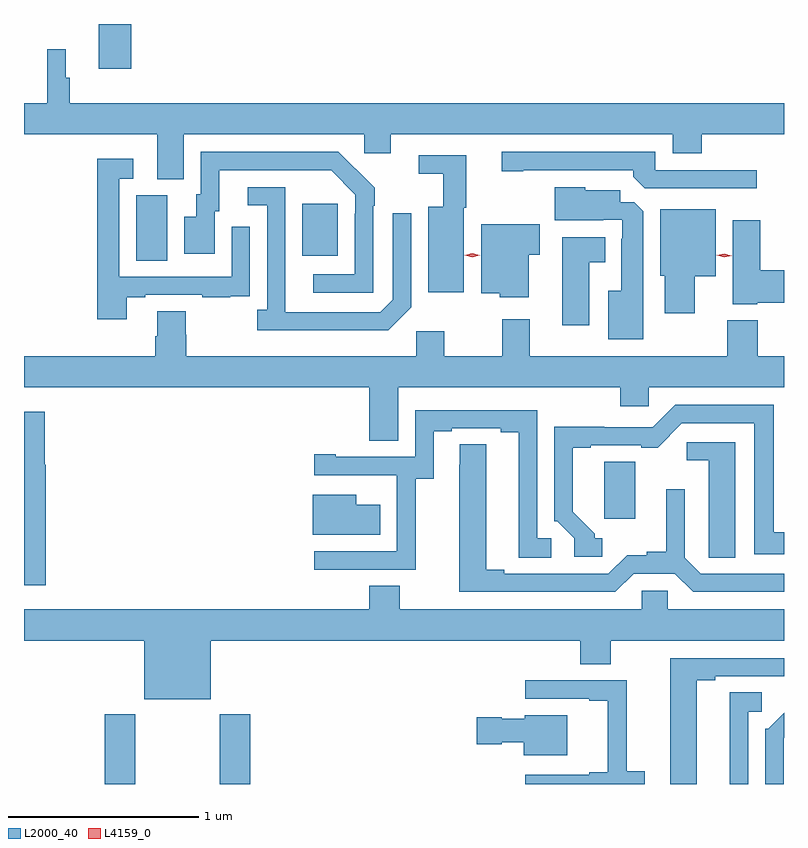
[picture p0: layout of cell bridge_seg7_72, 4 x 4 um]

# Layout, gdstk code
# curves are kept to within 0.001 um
import gdstk
lib = gdstk.Library(unit=1e-6, precision=1e-09)
def R(c, l, rs):  # rectangles x0, y0, x1, y1
    for r in rs: c.add(gdstk.rectangle(r[:2], r[2:], *l))
def P(c, l, *ps):  # polygons
    for p in ps: c.add(gdstk.Polygon(p, *l))
L2000_40 = (2000, 40)
L4159_0 = (4159, 0)

bridge_seg7_72 = lib.new_cell('bridge_seg7_72')
R(bridge_seg7_72, L2000_40, [(1104.437,1029.165,1104.597,1029.532), (1105.042,1029.165,1105.202,1029.532), (1104.602,1031.92,1104.766,1032.264), (1105.475,1031.945,1105.663,1032.22), (1104.404,1032.93,1104.575,1033.165)])
P(bridge_seg7_72, L2000_40, [(1104.853,1032.584),(1105.803,1032.584),(1105.803,1032.486),(1105.942,1032.486),(1105.942,1032.584),(1107.425,1032.584),(1107.425,1032.485),(1107.578,1032.485),(1107.578,1032.584),(1108.011,1032.584),(1108.011,1032.748),(1104.251,1032.748),(1104.251,1032.882),(1104.232,1032.882),(1104.232,1033.033),(1104.133,1033.033),(1104.133,1032.748),(1104.011,1032.748),(1104.011,1032.584),(1104.713,1032.584),(1104.713,1032.349),(1104.853,1032.349)],
  [(1105.848,1032.209),(1105.856,1032.209),(1105.856,1032.304),(1105.666,1032.492),(1104.942,1032.492),(1104.942,1032.27),(1104.917,1032.27),(1104.917,1032.151),(1104.854,1032.151),(1104.854,1031.955),(1105.015,1031.955),(1105.015,1032.18),(1105.039,1032.18),(1105.039,1032.396),(1105.627,1032.396),(1105.755,1032.267),(1105.755,1032.167),(1105.752,1032.167),(1105.752,1031.847),(1105.533,1031.847),(1105.533,1031.751),(1105.848,1031.751)],
  [(1107.868,1032.396),(1107.333,1032.396),(1107.333,1032.492),(1106.526,1032.492),(1106.526,1032.391),(1106.638,1032.391),(1106.638,1032.396),(1107.218,1032.396),(1107.218,1032.362),(1107.279,1032.3),(1107.868,1032.3)],
  [(1106.326,1032.198),(1106.338,1032.198),(1106.338,1032.474),(1106.088,1032.474),(1106.088,1032.377),(1106.217,1032.377),(1106.217,1032.202),(1106.138,1032.202),(1106.138,1031.753),(1106.326,1031.753)],
  [(1104.553,1031.727),(1104.649,1031.727),(1104.649,1031.739),(1104.949,1031.739),(1104.949,1031.727),(1105.097,1031.727),(1105.097,1031.733),(1105.199,1031.733),(1105.199,1031.842),(1105.2,1031.842),(1105.2,1032.097),(1105.104,1032.097),(1105.104,1031.835),(1104.513,1031.835),(1104.513,1032.351),(1104.586,1032.351),(1104.586,1032.457),(1104.397,1032.457),(1104.397,1031.61),(1104.553,1031.61)],
  [(1107.271,1032.179),(1107.222,1032.228),(1107.148,1032.228),(1107.148,1032.289),(1106.964,1032.289),(1106.964,1032.307),(1106.804,1032.307),(1106.804,1032.131),(1107.059,1032.131),(1107.059,1032.135),(1107.159,1032.135),(1107.159,1032.035),(1107.155,1032.035),(1107.155,1031.761),(1107.086,1031.761),(1107.086,1031.507),(1107.271,1031.507)],
  [(1106.049,1031.673),(1106.049,1032.169),(1105.953,1032.169),(1105.953,1031.715),(1105.887,1031.649),(1105.387,1031.649),(1105.386,1032.306),(1105.188,1032.306),(1105.188,1032.21),(1105.29,1032.21),(1105.29,1031.662),(1105.239,1031.662),(1105.239,1031.552),(1105.928,1031.552)],
  [(1107.541,1031.837),(1107.652,1031.837),(1107.652,1032.19),(1107.359,1032.19),(1107.359,1031.841),(1107.383,1031.841),(1107.383,1031.643),(1107.541,1031.643)],
  [(1107.87,1031.699),(1108.011,1031.699),(1108.011,1031.87),(1107.887,1031.87),(1107.887,1032.132),(1107.74,1032.132),(1107.74,1031.69),(1107.87,1031.69)],
  [(1106.668,1031.95),(1106.725,1031.95),(1106.725,1032.112),(1106.417,1032.112),(1106.417,1031.747),(1106.514,1031.747),(1106.514,1031.726),(1106.668,1031.726)],
  [(1106.986,1031.912),(1107.07,1031.912),(1107.07,1032.043),(1106.843,1032.043),(1106.843,1031.58),(1106.986,1031.58)],
  [(1105.829,1030.972),(1105.981,1030.972),(1105.981,1031.252),(1107.149,1031.252),(1107.149,1031.154),(1107.3,1031.154),(1107.3,1031.252),(1108.011,1031.252),(1108.011,1031.416),(1107.872,1031.416),(1107.872,1031.605),(1107.712,1031.605),(1107.712,1031.416),(1106.674,1031.416),(1106.674,1031.611),(1106.527,1031.611),(1106.527,1031.416),(1106.223,1031.416),(1106.223,1031.548),(1106.076,1031.548),(1106.076,1031.416),(1104.866,1031.416),(1104.866,1031.529),(1104.861,1031.529),(1104.861,1031.654),(1104.713,1031.654),(1104.713,1031.522),(1104.701,1031.522),(1104.701,1031.416),(1104.011,1031.416),(1104.011,1031.252),(1105.829,1031.252)],
  [(1107.055,1030.458),(1107.016,1030.458),(1107.016,1030.482),(1106.899,1030.598),(1106.899,1030.935),(1106.995,1030.935),(1106.995,1030.947),(1107.26,1030.947),(1107.26,1030.936),(1107.346,1030.936),(1107.474,1031.064),(1107.854,1031.064),(1107.854,1030.374),(1108.011,1030.374),(1108.011,1030.49),(1107.958,1030.49),(1107.958,1031.16),(1107.438,1031.16),(1107.321,1031.043),(1107.065,1031.043),(1107.065,1031.045),(1106.802,1031.045),(1106.802,1030.548),(1106.817,1030.548),(1106.907,1030.458),(1106.907,1030.362),(1107.055,1030.362)],
  [(1106.073,1030.771),(1106.167,1030.771),(1106.167,1031.022),(1106.263,1031.022),(1106.263,1031.037),(1106.519,1031.037),(1106.519,1031.017),(1106.615,1031.017),(1106.615,1030.357),(1106.785,1030.357),(1106.785,1030.458),(1106.712,1030.458),(1106.712,1031.133),(1106.07,1031.133),(1106.07,1030.887),(1105.651,1030.887),(1105.651,1030.9),(1105.539,1030.9),(1105.539,1030.791),(1105.973,1030.791),(1105.973,1030.79),(1105.974,1030.79),(1105.974,1030.389),(1105.539,1030.389),(1105.539,1030.293),(1106.073,1030.293)],
  [(1104.125,1030.846),(1104.119,1030.846),(1104.119,1031.125),(1104.011,1031.125),(1104.011,1030.212),(1104.125,1030.212)],
  [(1107.754,1030.965),(1107.498,1030.965),(1107.498,1030.868),(1107.614,1030.868),(1107.614,1030.465),(1107.615,1030.465),(1107.615,1030.357),(1107.754,1030.357)],
  [(1107.219,1030.272),(1107.437,1030.272),(1107.533,1030.176),(1108.011,1030.176),(1108.011,1030.272),(1107.573,1030.272),(1107.489,1030.356),(1107.489,1030.717),(1107.392,1030.717),(1107.392,1030.388),(1107.288,1030.388),(1107.288,1030.37),(1107.185,1030.37),(1107.087,1030.272),(1106.539,1030.272),(1106.539,1030.292),(1106.443,1030.292),(1106.443,1030.952),(1106.304,1030.952),(1106.303,1030.176),(1107.123,1030.176)],
  [(1107.229,1030.704),(1107.228,1030.704),(1107.228,1030.862),(1107.065,1030.862),(1107.065,1030.56),(1107.229,1030.56)],
  [(1105.885,1030.636),(1105.759,1030.636),(1105.759,1030.687),(1105.532,1030.687),(1105.532,1030.478),(1105.885,1030.478)],
  [(1104.994,1029.92),(1106.939,1029.92),(1106.939,1029.796),(1107.099,1029.796),(1107.099,1029.92),(1108.011,1029.92),(1108.011,1030.084),(1107.399,1030.084),(1107.399,1030.182),(1107.261,1030.182),(1107.261,1030.084),(1105.989,1030.084),(1105.989,1030.208),(1105.829,1030.208),(1105.829,1030.084),(1104.011,1030.084),(1104.011,1029.92),(1104.644,1029.92),(1104.644,1029.611),(1104.994,1029.611)],
  [(1107.553,1029.712),(1107.649,1029.712),(1107.649,1029.732),(1108.011,1029.732),(1108.011,1029.828),(1107.413,1029.828),(1107.413,1029.165),(1107.553,1029.165)],
  [(1107.277,1029.233),(1107.183,1029.233),(1107.183,1029.711),(1106.649,1029.711),(1106.649,1029.615),(1106.987,1029.615),(1106.987,1029.603),(1107.083,1029.603),(1107.083,1029.226),(1106.987,1029.226),(1106.987,1029.213),(1106.649,1029.213),(1106.649,1029.165),(1107.277,1029.165)],
  [(1107.822,1029.546),(1107.895,1029.546),(1107.895,1029.647),(1107.725,1029.647),(1107.725,1029.165),(1107.822,1029.165)],
  [(1108.009,1029.406),(1108.011,1029.408),(1108.011,1029.54),(1107.927,1029.456),(1107.912,1029.456),(1107.912,1029.165),(1108.009,1029.165)],
  [(1106.869,1029.526),(1106.646,1029.526),(1106.646,1029.508),(1106.526,1029.508),(1106.526,1029.516),(1106.394,1029.516),(1106.394,1029.374),(1106.526,1029.374),(1106.526,1029.386),(1106.642,1029.386),(1106.642,1029.317),(1106.869,1029.317)])
P(bridge_seg7_72, L4159_0, [(1106.37,1031.938),(1106.331,1031.948),(1106.331,1031.948),(1106.331,1031.948),(1106.371,1031.958),(1106.41,1031.948),(1106.41,1031.947),(1106.41,1031.947)],
  [(1107.696,1031.937),(1107.658,1031.948),(1107.658,1031.948),(1107.658,1031.948),(1107.697,1031.957),(1107.735,1031.946),(1107.735,1031.946),(1107.735,1031.946)])

lib.write_gds('bridge_seg7_72.gds')
